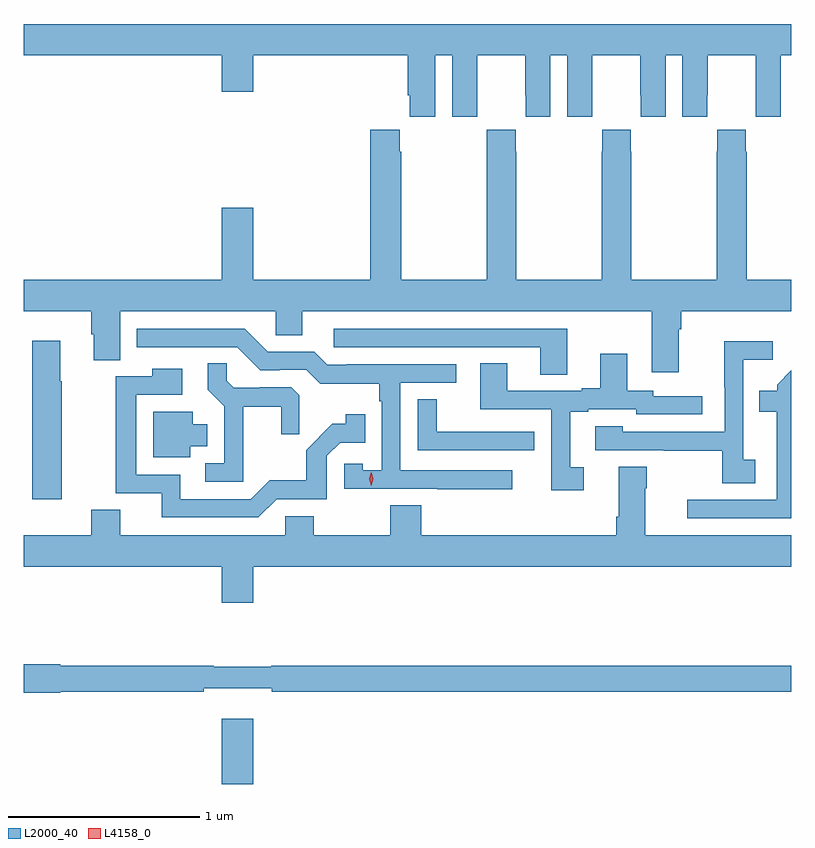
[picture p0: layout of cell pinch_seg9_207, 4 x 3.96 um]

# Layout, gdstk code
import gdstk
lib = gdstk.Library(unit=1e-6, precision=1e-09)
def R(c, l, rs):  # rectangles x0, y0, x1, y1
    for r in rs: c.add(gdstk.rectangle(r[:2], r[2:], *l))
def P(c, l, *ps):  # polygons
    for p in ps: c.add(gdstk.Polygon(p, *l))
L2000_40 = (2000, 40)
L4158_0 = (4158, 0)

pinch_seg9_207 = lib.new_cell('pinch_seg9_207')
R(pinch_seg9_207, L2000_40, [(620.552,1231.251,620.716,1231.591)])
P(pinch_seg9_207, L2000_40, [(621.664,1235.048),(621.752,1235.048),(621.752,1234.728),(621.882,1234.728),(621.882,1234.84),(621.883,1234.84),(621.883,1235.048),(622.133,1235.048),(622.133,1234.84),(622.134,1234.84),(622.134,1234.728),(622.264,1234.728),(622.264,1235.048),(622.352,1235.048),(622.352,1234.728),(622.482,1234.728),(622.482,1234.84),(622.483,1234.84),(622.483,1235.048),(622.733,1235.048),(622.733,1234.84),(622.734,1234.84),(622.734,1234.728),(622.864,1234.728),(622.864,1235.048),(622.952,1235.048),(622.952,1234.728),(623.082,1234.728),(623.082,1234.84),(623.083,1234.84),(623.083,1235.048),(623.333,1235.048),(623.333,1234.84),(623.334,1234.84),(623.334,1234.728),(623.464,1234.728),(623.464,1235.048),(623.519,1235.048),(623.519,1235.212),(619.519,1235.212),(619.519,1235.048),(620.552,1235.048),(620.552,1234.86),(620.716,1234.86),(620.716,1235.048),(621.521,1235.048),(621.521,1234.84),(621.53,1234.84),(621.53,1234.728),(621.664,1234.728)],
  [(622.933,1233.62),(622.946,1233.62),(622.946,1233.716),(623.519,1233.716),(623.519,1233.88),(623.286,1233.88),(623.286,1234.547),(623.283,1234.547),(623.283,1234.66),(623.133,1234.66),(623.133,1234.547),(623.131,1234.547),(623.131,1233.88),(622.686,1233.88),(622.686,1234.547),(622.683,1234.547),(622.683,1234.66),(622.533,1234.66),(622.533,1234.547),(622.531,1234.547),(622.531,1233.88),(622.086,1233.88),(622.086,1234.547),(622.083,1234.547),(622.083,1234.66),(621.933,1234.66),(621.933,1234.547),(621.931,1234.547),(621.931,1233.88),(621.486,1233.88),(621.486,1234.547),(621.479,1234.547),(621.479,1234.66),(621.326,1234.66),(621.326,1233.88),(620.716,1233.88),(620.716,1234.255),(620.552,1234.255),(620.552,1233.88),(619.519,1233.88),(619.519,1233.716),(619.871,1233.716),(619.871,1233.594),(619.883,1233.594),(619.883,1233.46),(620.023,1233.46),(620.023,1233.716),(620.832,1233.716),(620.832,1233.589),(620.971,1233.589),(620.971,1233.716),(622.793,1233.716),(622.793,1233.396),(622.933,1233.396)],
  [(622.066,1232.886),(621.48,1232.886),(621.48,1233.342),(621.772,1233.342),(621.772,1233.438),(621.202,1233.438),(621.202,1233.435),(621.102,1233.435),(621.033,1233.504),(620.79,1233.504),(620.67,1233.624),(620.108,1233.624),(620.108,1233.528),(620.631,1233.528),(620.751,1233.408),(620.852,1233.408),(620.852,1233.411),(620.991,1233.411),(621.064,1233.338),(621.372,1233.338),(621.372,1233.245),(621.384,1233.245),(621.384,1232.887),(621.285,1232.887),(621.285,1232.919),(621.189,1232.919),(621.189,1232.79),(621.673,1232.79),(621.673,1232.788),(622.066,1232.788)],
  [(622.351,1233.624),(621.135,1233.624),(621.135,1233.528),(622.211,1233.528),(622.211,1233.385),(622.351,1233.385)],
  [(619.716,1233.349),(619.708,1233.349),(619.708,1233.562),(619.562,1233.562),(619.562,1232.736),(619.716,1232.736)],
  [(623.332,1232.94),(623.268,1232.94),(623.268,1233.461),(623.422,1233.461),(623.422,1233.559),(623.17,1233.559),(623.17,1233.32),(623.172,1233.32),(623.172,1233.087),(622.641,1233.087),(622.641,1233.115),(622.497,1233.115),(622.497,1232.991),(622.855,1232.991),(622.855,1232.989),(623.16,1232.989),(623.16,1232.818),(623.332,1232.818)],
  [(622.438,1232.901),(622.366,1232.901),(622.366,1233.192),(622.462,1233.192),(622.462,1233.204),(622.71,1233.204),(622.71,1233.177),(623.056,1233.177),(623.056,1233.273),(622.8,1233.273),(622.8,1233.3),(622.663,1233.3),(622.663,1233.493),(622.523,1233.493),(622.523,1233.313),(622.427,1233.313),(622.427,1233.3),(622.039,1233.3),(622.039,1233.443),(621.899,1233.443),(621.899,1233.204),(622.269,1233.204),(622.269,1232.781),(622.438,1232.781)],
  [(620.663,1233.218),(620.86,1233.218),(620.86,1233.075),(620.954,1233.075),(620.954,1233.277),(620.913,1233.318),(620.748,1233.318),(620.748,1233.315),(620.614,1233.315),(620.577,1233.352),(620.577,1233.443),(620.479,1233.443),(620.479,1233.307),(620.565,1233.221),(620.565,1232.922),(620.466,1232.922),(620.466,1232.826),(620.663,1232.826)],
  [(620.838,1232.736),(621.099,1232.736),(621.099,1232.961),(621.168,1233.03),(621.299,1233.03),(621.299,1233.178),(621.198,1233.178),(621.198,1233.128),(621.128,1233.128),(620.991,1232.99),(620.991,1232.835),(620.802,1232.835),(620.703,1232.736),(620.335,1232.736),(620.335,1232.862),(620.106,1232.862),(620.106,1233.279),(620.344,1233.279),(620.344,1233.415),(620.188,1233.415),(620.188,1233.375),(619.998,1233.375),(619.998,1232.766),(620.237,1232.766),(620.237,1232.64),(620.742,1232.64)],
  [(623.519,1233.407),(623.445,1233.333),(623.445,1233.301),(623.353,1233.301),(623.353,1233.192),(623.444,1233.192),(623.444,1232.733),(622.977,1232.733),(622.977,1232.637),(623.519,1232.637)],
  [(622.18,1233.086),(622.067,1233.086),(622.067,1233.087),(621.672,1233.087),(621.672,1233.257),(621.573,1233.257),(621.573,1232.991),(622.18,1232.991)],
  [(620.386,1233.011),(620.476,1233.011),(620.476,1233.127),(620.401,1233.127),(620.401,1233.19),(620.195,1233.19),(620.195,1232.954),(620.386,1232.954)],
  [(620.716,1232.384),(623.519,1232.384),(623.519,1232.548),(622.759,1232.548),(622.759,1232.792),(622.767,1232.792),(622.767,1232.905),(622.619,1232.905),(622.619,1232.644),(622.607,1232.644),(622.607,1232.548),(621.59,1232.548),(621.59,1232.705),(621.43,1232.705),(621.43,1232.548),(621.03,1232.548),(621.03,1232.646),(620.883,1232.646),(620.883,1232.548),(620.023,1232.548),(620.023,1232.681),(619.871,1232.681),(619.871,1232.548),(619.519,1232.548),(619.519,1232.384),(620.552,1232.384),(620.552,1232.196),(620.716,1232.196)],
  [(619.71,1231.732),(620.456,1231.732),(620.456,1231.751),(620.812,1231.751),(620.812,1231.732),(623.519,1231.732),(623.519,1231.868),(620.81,1231.868),(620.81,1231.861),(620.51,1231.861),(620.51,1231.868),(619.71,1231.868),(619.71,1231.874),(619.519,1231.874),(619.519,1231.727),(619.71,1231.727)])
P(pinch_seg9_207, L4158_0, [(621.33,1232.805),(621.33,1232.805),(621.32,1232.841),(621.33,1232.877),(621.33,1232.877),(621.33,1232.877),(621.34,1232.841),(621.33,1232.805)])

lib.write_gds('pinch_seg9_207.gds')
